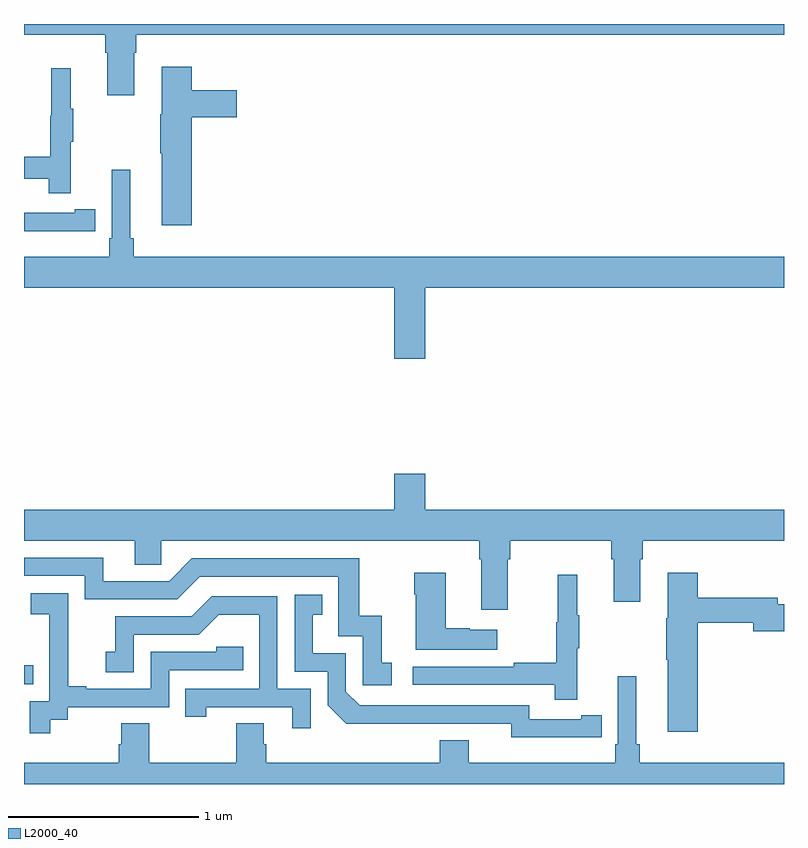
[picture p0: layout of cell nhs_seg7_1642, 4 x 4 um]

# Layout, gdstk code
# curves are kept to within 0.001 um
import gdstk
lib = gdstk.Library(unit=1e-6, precision=1e-09)
def R(c, l, rs):  # rectangles x0, y0, x1, y1
    for r in rs: c.add(gdstk.rectangle(r[:2], r[2:], *l))
def P(c, l, *ps):  # polygons
    for p in ps: c.add(gdstk.Polygon(p, *l))
L2000_40 = (2000, 40)

nhs_seg7_1642 = lib.new_cell('nhs_seg7_1642')
R(nhs_seg7_1642, L2000_40, [(223,1002.525,223.049,1002.626)])
P(nhs_seg7_1642, L2000_40, [(223.579,1005.848),(223.592,1005.848),(223.592,1005.944),(227,1005.944),(227,1006),(223,1006),(223,1005.944),(223.427,1005.944),(223.427,1005.848),(223.439,1005.848),(223.439,1005.624),(223.579,1005.624)],
  [(223.883,1005.509),(224.119,1005.509),(224.119,1005.651),(223.883,1005.651),(223.883,1005.775),(223.724,1005.775),(223.724,1005.525),(223.717,1005.525),(223.717,1005.319),(223.724,1005.319),(223.724,1004.94),(223.883,1004.94)],
  [(223.247,1005.379),(223.258,1005.379),(223.258,1005.553),(223.247,1005.553),(223.247,1005.766),(223.144,1005.766),(223.144,1005.516),(223.137,1005.516),(223.137,1005.302),(223,1005.302),(223,1005.186),(223.129,1005.186),(223.129,1005.108),(223.247,1005.108)],
  [(225.112,1004.612),(227,1004.612),(227,1004.776),(223.577,1004.776),(223.577,1004.872),(223.558,1004.872),(223.558,1005.232),(223.461,1005.232),(223.461,1004.872),(223.448,1004.872),(223.448,1004.776),(223,1004.776),(223,1004.612),(224.948,1004.612),(224.948,1004.238),(225.112,1004.238)],
  [(223.268,1004.91),(223.376,1004.91),(223.376,1005.026),(223.268,1005.026),(223.268,1005.006),(223,1005.006),(223,1004.909),(223.268,1004.909)],
  [(225.547,1003.184),(225.56,1003.184),(225.56,1003.28),(226.091,1003.28),(226.091,1003.184),(226.103,1003.184),(226.103,1002.96),(226.243,1002.96),(226.243,1003.184),(226.256,1003.184),(226.256,1003.28),(227,1003.28),(227,1003.444),(225.112,1003.444),(225.112,1003.633),(224.948,1003.633),(224.948,1003.444),(223,1003.444),(223,1003.28),(223.583,1003.28),(223.583,1003.153),(223.722,1003.153),(223.722,1003.28),(225.395,1003.28),(225.395,1003.184),(225.407,1003.184),(225.407,1002.918),(225.547,1002.918)],
  [(224.935,1002.639),(224.882,1002.639),(224.882,1002.886),(224.764,1002.886),(224.764,1003.188),(223.884,1003.188),(223.764,1003.068),(223.417,1003.068),(223.417,1003.191),(223,1003.191),(223,1003.095),(223.32,1003.095),(223.32,1002.972),(223.806,1002.972),(223.926,1003.092),(224.655,1003.092),(224.655,1002.777),(224.784,1002.777),(224.784,1002.519),(224.935,1002.519)],
  [(225.49,1002.811),(225.347,1002.811),(225.347,1002.821),(225.22,1002.821),(225.22,1003.111),(225.055,1003.111),(225.055,1002.998),(225.062,1002.998),(225.062,1002.707),(225.49,1002.707)],
  [(226.547,1002.85),(226.838,1002.85),(226.838,1002.803),(227,1002.803),(227,1002.945),(226.966,1002.945),(226.966,1002.979),(226.547,1002.979),(226.547,1003.111),(226.388,1003.111),(226.388,1002.873),(226.381,1002.873),(226.381,1002.655),(226.388,1002.655),(226.388,1002.276),(226.547,1002.276)],
  [(225.911,1002.715),(225.922,1002.715),(225.922,1002.889),(225.911,1002.889),(225.911,1003.102),(225.808,1003.102),(225.808,1002.852),(225.801,1002.852),(225.801,1002.638),(225.577,1002.638),(225.577,1002.618),(225.045,1002.618),(225.045,1002.522),(225.793,1002.522),(225.793,1002.444),(225.911,1002.444)],
  [(223.138,1002.337),(223.23,1002.337),(223.23,1002.405),(223.764,1002.405),(223.764,1002.6),(224.153,1002.6),(224.153,1002.723),(224.013,1002.723),(224.013,1002.696),(223.668,1002.696),(223.668,1002.501),(223.327,1002.501),(223.327,1002.514),(223.232,1002.514),(223.232,1002.797),(223.233,1002.797),(223.233,1003.003),(223.035,1003.003),(223.035,1002.893),(223.133,1002.893),(223.133,1002.665),(223.134,1002.665),(223.134,1002.435),(223.029,1002.435),(223.029,1002.267),(223.138,1002.267)],
  [(225.932,1002.246),(226.04,1002.246),(226.04,1002.362),(225.932,1002.362),(225.932,1002.342),(225.66,1002.342),(225.66,1002.414),(224.766,1002.414),(224.694,1002.486),(224.694,1002.687),(224.521,1002.687),(224.521,1002.891),(224.57,1002.891),(224.57,1002.997),(224.424,1002.997),(224.424,1002.591),(224.598,1002.591),(224.598,1002.414),(224.696,1002.317),(225.564,1002.318),(225.564,1002.245)],
  [(224.508,1002.501),(224.334,1002.501),(224.334,1002.987),(223.988,1002.987),(223.883,1002.882),(223.48,1002.882),(223.48,1002.697),(223.431,1002.697),(223.431,1002.588),(223.578,1002.588),(223.578,1002.786),(223.92,1002.786),(224.024,1002.89),(224.238,1002.89),(224.238,1002.501),(223.849,1002.501),(223.849,1002.354),(223.96,1002.354),(223.96,1002.405),(224.411,1002.405),(224.411,1002.294),(224.508,1002.294)],
  [(227,1002.112),(226.241,1002.112),(226.241,1002.208),(226.222,1002.208),(226.222,1002.568),(226.125,1002.568),(226.125,1002.208),(226.112,1002.208),(226.112,1002.112),(225.34,1002.112),(225.34,1002.229),(225.188,1002.229),(225.188,1002.112),(224.276,1002.112),(224.276,1002.21),(224.263,1002.21),(224.263,1002.32),(224.116,1002.32),(224.116,1002.112),(223.659,1002.112),(223.659,1002.32),(223.511,1002.32),(223.511,1002.21),(223.499,1002.21),(223.499,1002.112),(223,1002.112),(223,1002),(227,1002)])

lib.write_gds('nhs_seg7_1642.gds')
